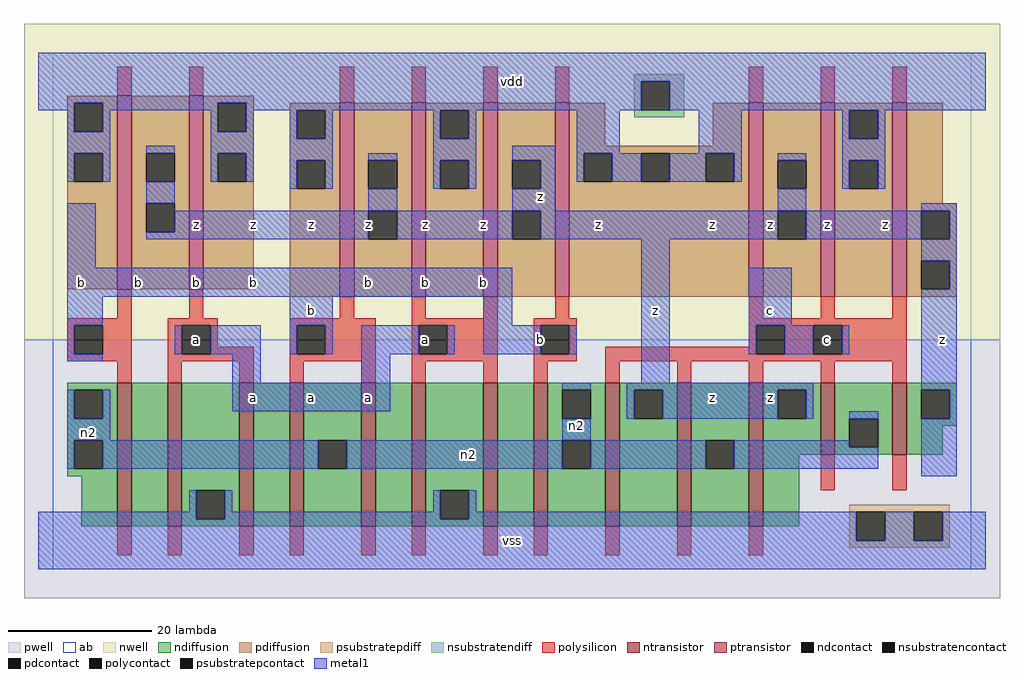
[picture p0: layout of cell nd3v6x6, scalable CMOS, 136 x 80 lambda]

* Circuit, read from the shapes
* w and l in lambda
.subckt nd3v6x6 a b c n2 vdd vss z
M1 n1 b n2 vss nfet w=20 l=2
M2 vss a n1 vss nfet w=20 l=2
M3 n3 a vss vss nfet w=20 l=2
M4 n2 b n3 vss nfet w=20 l=2
M5 n4 b n2 vss nfet w=20 l=2
M6 vss a n4 vss nfet w=20 l=2
M7 n5 a vss vss nfet w=20 l=2
M8 n2 b n5 vss nfet w=20 l=2
M9 z c n2 vss nfet w=20 l=2 m=3
M10 n2 c z vss nfet w=10 l=2 m=2
M11 z b vdd vdd pfet w=27 l=2 m=3
M12 vdd a z vdd pfet w=27 l=2 m=3
M13 z c vdd vdd pfet w=27 l=2 m=3
.ends

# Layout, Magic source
magic
tech scmos
<< ab >>
rect 0 0 128 72
<< pwell >>
rect -4 -4 132 32
<< nwell >>
rect -4 32 132 76
<< polysilicon >>
rect 9 66 11 70
rect 19 66 21 70
rect 40 65 42 70
rect 50 65 52 70
rect 60 65 62 70
rect 70 65 72 70
rect 9 35 11 39
rect 19 35 21 39
rect 97 65 99 70
rect 107 65 109 70
rect 117 65 119 70
rect 40 35 42 38
rect 50 35 52 38
rect 60 35 62 38
rect 70 35 72 38
rect 97 35 99 38
rect 107 35 109 38
rect 117 35 119 38
rect 2 34 11 35
rect 2 30 3 34
rect 7 30 11 34
rect 2 29 11 30
rect 9 26 11 29
rect 16 34 23 35
rect 16 30 18 34
rect 22 31 23 34
rect 33 34 45 35
rect 22 30 28 31
rect 16 29 28 30
rect 16 26 18 29
rect 26 26 28 29
rect 33 30 34 34
rect 38 30 45 34
rect 33 29 45 30
rect 33 26 35 29
rect 43 26 45 29
rect 50 34 62 35
rect 50 30 51 34
rect 55 30 62 34
rect 50 29 62 30
rect 50 26 52 29
rect 60 26 62 29
rect 67 34 73 35
rect 67 30 68 34
rect 72 30 73 34
rect 97 34 119 35
rect 97 31 98 34
rect 67 29 73 30
rect 77 30 98 31
rect 102 30 106 34
rect 110 30 119 34
rect 77 29 119 30
rect 67 26 69 29
rect 77 26 79 29
rect 87 26 89 29
rect 97 26 99 29
rect 107 26 109 29
rect 117 26 119 29
rect 107 11 109 16
rect 117 11 119 16
rect 9 2 11 6
rect 16 2 18 6
rect 26 2 28 6
rect 33 2 35 6
rect 43 2 45 6
rect 50 2 52 6
rect 60 2 62 6
rect 67 2 69 6
rect 77 2 79 6
rect 87 2 89 6
rect 97 2 99 6
<< ndiffusion >>
rect 2 25 9 26
rect 2 21 3 25
rect 7 21 9 25
rect 2 18 9 21
rect 2 14 3 18
rect 7 14 9 18
rect 2 13 9 14
rect 4 6 9 13
rect 11 6 16 26
rect 18 11 26 26
rect 18 7 20 11
rect 24 7 26 11
rect 18 6 26 7
rect 28 6 33 26
rect 35 18 43 26
rect 35 14 37 18
rect 41 14 43 18
rect 35 6 43 14
rect 45 6 50 26
rect 52 11 60 26
rect 52 7 54 11
rect 58 7 60 11
rect 52 6 60 7
rect 62 6 67 26
rect 69 25 77 26
rect 69 21 71 25
rect 75 21 77 25
rect 69 18 77 21
rect 69 14 71 18
rect 75 14 77 18
rect 69 6 77 14
rect 79 25 87 26
rect 79 21 81 25
rect 85 21 87 25
rect 79 6 87 21
rect 89 18 97 26
rect 89 14 91 18
rect 95 14 97 18
rect 89 6 97 14
rect 99 25 107 26
rect 99 21 101 25
rect 105 21 107 25
rect 99 16 107 21
rect 109 21 117 26
rect 109 17 111 21
rect 115 17 117 21
rect 109 16 117 17
rect 119 25 126 26
rect 119 21 121 25
rect 125 21 126 25
rect 119 20 126 21
rect 119 16 124 20
rect 99 6 104 16
<< pdiffusion >>
rect 2 65 9 66
rect 2 61 3 65
rect 7 61 9 65
rect 2 58 9 61
rect 2 54 3 58
rect 7 54 9 58
rect 2 39 9 54
rect 11 58 19 66
rect 11 54 13 58
rect 17 54 19 58
rect 11 51 19 54
rect 11 47 13 51
rect 17 47 19 51
rect 11 39 19 47
rect 21 65 28 66
rect 21 61 23 65
rect 27 61 28 65
rect 21 58 28 61
rect 21 54 23 58
rect 27 54 28 58
rect 21 39 28 54
rect 33 64 40 65
rect 33 60 34 64
rect 38 60 40 64
rect 33 57 40 60
rect 33 53 34 57
rect 38 53 40 57
rect 33 38 40 53
rect 42 57 50 65
rect 42 53 44 57
rect 48 53 50 57
rect 42 50 50 53
rect 42 46 44 50
rect 48 46 50 50
rect 42 38 50 46
rect 52 64 60 65
rect 52 60 54 64
rect 58 60 60 64
rect 52 57 60 60
rect 52 53 54 57
rect 58 53 60 57
rect 52 38 60 53
rect 62 57 70 65
rect 62 53 64 57
rect 68 53 70 57
rect 62 50 70 53
rect 62 46 64 50
rect 68 46 70 50
rect 62 38 70 46
rect 72 59 77 65
rect 92 59 97 65
rect 72 58 97 59
rect 72 54 74 58
rect 78 54 82 58
rect 86 54 91 58
rect 95 54 97 58
rect 72 38 97 54
rect 99 57 107 65
rect 99 53 101 57
rect 105 53 107 57
rect 99 50 107 53
rect 99 46 101 50
rect 105 46 107 50
rect 99 38 107 46
rect 109 64 117 65
rect 109 60 111 64
rect 115 60 117 64
rect 109 57 117 60
rect 109 53 111 57
rect 115 53 117 57
rect 109 38 117 53
rect 119 51 124 65
rect 119 50 126 51
rect 119 46 121 50
rect 125 46 126 50
rect 119 43 126 46
rect 119 39 121 43
rect 125 39 126 43
rect 119 38 126 39
<< metal1 >>
rect -2 68 130 72
rect -2 65 82 68
rect -2 64 3 65
rect 2 61 3 64
rect 7 64 23 65
rect 7 61 8 64
rect 2 58 8 61
rect 22 61 23 64
rect 27 64 82 65
rect 86 64 130 68
rect 27 61 28 64
rect 2 54 3 58
rect 7 54 8 58
rect 13 58 17 59
rect 22 58 28 61
rect 22 54 23 58
rect 27 54 28 58
rect 33 60 34 64
rect 38 60 39 64
rect 33 57 39 60
rect 53 60 54 64
rect 58 60 59 64
rect 13 51 17 54
rect 33 53 34 57
rect 38 53 39 57
rect 44 57 48 58
rect 53 57 59 60
rect 53 53 54 57
rect 58 53 59 57
rect 64 57 70 59
rect 68 53 70 57
rect 73 58 79 64
rect 90 58 96 64
rect 110 60 111 64
rect 115 60 116 64
rect 73 54 74 58
rect 78 54 82 58
rect 86 54 91 58
rect 95 54 96 58
rect 101 57 105 58
rect 2 42 6 51
rect 44 50 48 53
rect 64 50 70 53
rect 110 57 116 60
rect 110 53 111 57
rect 115 53 116 57
rect 101 50 105 53
rect 121 50 126 51
rect 17 47 44 50
rect 13 46 44 47
rect 48 46 64 50
rect 68 46 101 50
rect 105 46 121 50
rect 125 46 126 50
rect 2 38 64 42
rect 2 34 7 38
rect 33 34 39 38
rect 60 34 64 38
rect 2 30 3 34
rect 17 30 18 34
rect 22 30 29 34
rect 33 30 34 34
rect 38 30 39 34
rect 43 30 51 34
rect 55 30 56 34
rect 60 30 68 34
rect 72 30 73 34
rect 2 29 7 30
rect 25 26 29 30
rect 43 26 47 30
rect 82 26 86 46
rect 121 43 126 46
rect 97 34 103 42
rect 125 39 126 43
rect 97 30 98 34
rect 102 30 106 34
rect 110 30 111 34
rect 2 21 3 25
rect 7 21 8 25
rect 25 22 47 26
rect 71 25 75 26
rect 2 18 8 21
rect 80 25 106 26
rect 80 21 81 25
rect 85 21 101 25
rect 105 21 106 25
rect 121 25 126 39
rect 111 21 115 22
rect 71 18 75 21
rect 2 14 3 18
rect 7 14 37 18
rect 41 14 71 18
rect 75 14 91 18
rect 95 17 111 18
rect 95 14 115 17
rect 125 21 126 25
rect 121 13 126 21
rect 19 8 20 11
rect -2 7 20 8
rect 24 8 25 11
rect 53 8 54 11
rect 24 7 54 8
rect 58 8 59 11
rect 58 7 112 8
rect -2 4 112 7
rect 116 4 120 8
rect 124 4 130 8
rect -2 0 130 4
<< ntransistor >>
rect 9 6 11 26
rect 16 6 18 26
rect 26 6 28 26
rect 33 6 35 26
rect 43 6 45 26
rect 50 6 52 26
rect 60 6 62 26
rect 67 6 69 26
rect 77 6 79 26
rect 87 6 89 26
rect 97 6 99 26
rect 107 16 109 26
rect 117 16 119 26
<< ptransistor >>
rect 9 39 11 66
rect 19 39 21 66
rect 40 38 42 65
rect 50 38 52 65
rect 60 38 62 65
rect 70 38 72 65
rect 97 38 99 65
rect 107 38 109 65
rect 117 38 119 65
<< polycontact >>
rect 3 30 7 34
rect 18 30 22 34
rect 34 30 38 34
rect 51 30 55 34
rect 68 30 72 34
rect 98 30 102 34
rect 106 30 110 34
<< ndcontact >>
rect 3 21 7 25
rect 3 14 7 18
rect 20 7 24 11
rect 37 14 41 18
rect 54 7 58 11
rect 71 21 75 25
rect 71 14 75 18
rect 81 21 85 25
rect 91 14 95 18
rect 101 21 105 25
rect 111 17 115 21
rect 121 21 125 25
<< pdcontact >>
rect 3 61 7 65
rect 3 54 7 58
rect 13 54 17 58
rect 13 47 17 51
rect 23 61 27 65
rect 23 54 27 58
rect 34 60 38 64
rect 34 53 38 57
rect 44 53 48 57
rect 44 46 48 50
rect 54 60 58 64
rect 54 53 58 57
rect 64 53 68 57
rect 64 46 68 50
rect 74 54 78 58
rect 82 54 86 58
rect 91 54 95 58
rect 101 53 105 57
rect 101 46 105 50
rect 111 60 115 64
rect 111 53 115 57
rect 121 46 125 50
rect 121 39 125 43
<< psubstratepcontact >>
rect 112 4 116 8
rect 120 4 124 8
<< nsubstratencontact >>
rect 82 64 86 68
<< psubstratepdiff >>
rect 111 8 125 9
rect 111 4 112 8
rect 116 4 120 8
rect 124 4 125 8
rect 111 3 125 4
<< nsubstratendiff >>
rect 81 68 88 69
rect 81 64 82 68
rect 86 64 88 68
rect 81 63 88 64
<< labels >>
rlabel metal1 5 19 5 19 6 n2
rlabel polycontact 20 32 20 32 6 a
rlabel metal1 4 40 4 40 6 b
rlabel metal1 12 40 12 40 6 b
rlabel metal1 20 40 20 40 6 b
rlabel metal1 20 48 20 48 6 z
rlabel metal1 44 24 44 24 6 a
rlabel metal1 36 24 36 24 6 a
rlabel metal1 28 24 28 24 6 a
rlabel metal1 28 40 28 40 6 b
rlabel metal1 44 40 44 40 6 b
rlabel metal1 36 36 36 36 6 b
rlabel metal1 36 48 36 48 6 z
rlabel metal1 44 48 44 48 6 z
rlabel metal1 28 48 28 48 6 z
rlabel metal1 64 4 64 4 6 vss
rlabel metal1 73 20 73 20 6 n2
rlabel metal1 68 32 68 32 6 b
rlabel polycontact 52 32 52 32 6 a
rlabel metal1 52 40 52 40 6 b
rlabel metal1 60 40 60 40 6 b
rlabel metal1 52 48 52 48 6 z
rlabel metal1 68 52 68 52 6 z
rlabel metal1 60 48 60 48 6 z
rlabel metal1 64 68 64 68 6 vdd
rlabel metal1 100 24 100 24 6 z
rlabel metal1 92 24 92 24 6 z
rlabel metal1 84 36 84 36 6 z
rlabel metal1 100 36 100 36 6 c
rlabel metal1 76 48 76 48 6 z
rlabel metal1 100 48 100 48 6 z
rlabel metal1 92 48 92 48 6 z
rlabel metal1 58 16 58 16 6 n2
rlabel polycontact 108 32 108 32 6 c
rlabel metal1 124 32 124 32 6 z
rlabel metal1 108 48 108 48 6 z
rlabel metal1 116 48 116 48 6 z
<< end >>
